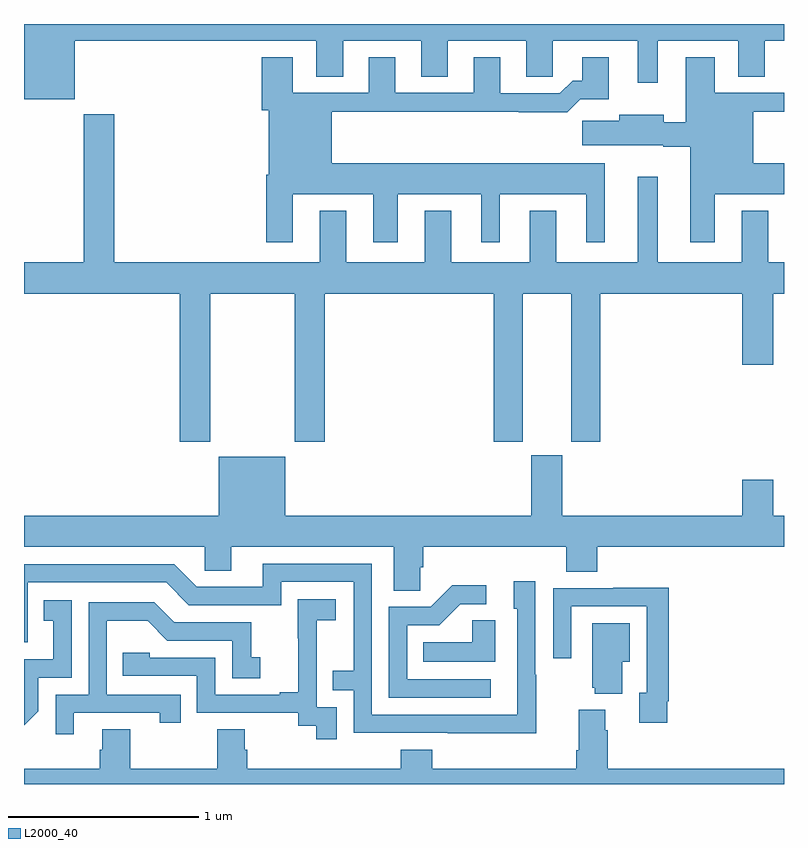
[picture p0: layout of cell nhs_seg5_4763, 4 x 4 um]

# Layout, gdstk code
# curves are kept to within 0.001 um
import gdstk
lib = gdstk.Library(unit=1e-6, precision=1e-09)
def P(c, l, *ps):  # polygons
    for p in ps: c.add(gdstk.Polygon(p, *l))
L2000_40 = (2000, 40)

nhs_seg5_4763 = lib.new_cell('nhs_seg5_4763')
P(nhs_seg5_4763, L2000_40, [(390.539,904.522),(390.679,904.522),(390.679,904.712),(391.091,904.712),(391.091,904.522),(391.231,904.522),(391.231,904.712),(391.643,904.712),(391.643,904.522),(391.782,904.522),(391.782,904.712),(392.231,904.712),(392.231,904.491),(392.335,904.491),(392.335,904.712),(392.759,904.712),(392.759,904.522),(392.899,904.522),(392.899,904.712),(393,904.712),(393,904.799),(389,904.799),(389,904.403),(389.266,904.403),(389.266,904.712),(390.539,904.712)],
  [(390.415,903.902),(390.839,903.902),(390.839,903.651),(390.967,903.651),(390.967,903.902),(391.406,903.902),(391.406,903.651),(391.504,903.651),(391.504,903.902),(391.958,903.902),(391.958,903.651),(392.056,903.651),(392.056,904.066),(390.619,904.066),(390.619,904.336),(391.603,904.336),(391.603,904.334),(391.859,904.334),(391.928,904.403),(392.077,904.403),(392.077,904.624),(391.937,904.624),(391.937,904.501),(391.888,904.501),(391.821,904.434),(391.507,904.434),(391.507,904.624),(391.367,904.624),(391.367,904.437),(390.955,904.437),(390.955,904.624),(390.815,904.624),(390.815,904.437),(390.415,904.437),(390.415,904.624),(390.251,904.624),(390.251,904.344),(390.287,904.344),(390.287,904.006),(390.275,904.006),(390.275,903.651),(390.415,903.651)],
  [(392.635,903.902),(393,903.902),(393,904.066),(392.839,904.066),(392.839,904.336),(393,904.336),(393,904.437),(392.635,904.437),(392.635,904.624),(392.483,904.624),(392.483,904.282),(392.368,904.282),(392.368,904.321),(392.132,904.321),(392.132,904.289),(391.938,904.289),(391.938,904.16),(392.364,904.16),(392.364,904.153),(392.507,904.153),(392.507,903.651),(392.635,903.651)],
  [(389.979,903.38),(390.424,903.38),(390.424,902.601),(390.584,902.601),(390.584,903.38),(391.472,903.38),(391.472,902.601),(391.624,902.601),(391.624,903.38),(391.88,903.38),(391.88,902.601),(392.033,902.601),(392.033,903.38),(392.78,903.38),(392.78,903.006),(392.944,903.006),(392.944,903.38),(393,903.38),(393,903.544),(392.917,903.544),(392.917,903.817),(392.777,903.817),(392.777,903.544),(392.335,903.544),(392.335,903.994),(392.231,903.994),(392.231,903.544),(391.801,903.544),(391.801,903.817),(391.661,903.817),(391.661,903.544),(391.249,903.544),(391.249,903.817),(391.109,903.817),(391.109,903.544),(390.697,903.544),(390.697,903.817),(390.557,903.817),(390.557,903.544),(389.474,903.544),(389.474,904.324),(389.314,904.324),(389.314,903.544),(389,903.544),(389,903.38),(389.819,903.38),(389.819,902.601),(389.979,902.601)],
  [(391.086,901.939),(391.1,901.939),(391.1,902.048),(391.853,902.048),(391.853,901.915),(392.018,901.915),(392.018,902.048),(393,902.048),(393,902.212),(392.944,902.212),(392.944,902.401),(392.78,902.401),(392.78,902.212),(391.834,902.212),(391.834,902.529),(391.67,902.529),(391.67,902.212),(390.376,902.212),(390.376,902.521),(390.026,902.521),(390.026,902.212),(389,902.212),(389,902.048),(389.952,902.048),(389.952,901.921),(390.091,901.921),(390.091,902.048),(390.947,902.048),(390.947,901.816),(391.086,901.816)],
  [(391.695,901.373),(391.692,901.373),(391.692,901.867),(391.577,901.867),(391.577,901.722),(391.596,901.722),(391.596,901.164),(390.831,901.164),(390.831,901.959),(390.257,901.959),(390.257,901.836),(389.91,901.836),(389.79,901.956),(389,901.956),(389,901.545),(389.019,901.545),(389.019,901.86),(389.748,901.86),(389.868,901.74),(390.354,901.74),(390.354,901.863),(390.735,901.863),(390.735,901.394),(390.625,901.394),(390.625,901.293),(390.735,901.293),(390.735,901.068),(391.695,901.067)],
  [(391.456,901.35),(391.017,901.35),(391.017,901.635),(391.186,901.635),(391.297,901.746),(391.432,901.746),(391.432,901.844),(391.253,901.844),(391.14,901.731),(390.921,901.731),(390.921,901.254),(391.456,901.254)],
  [(392.386,901.234),(392.393,901.234),(392.393,901.832),(392.101,901.832),(392.101,901.83),(391.785,901.83),(391.785,901.461),(391.881,901.461),(391.881,901.734),(392.277,901.734),(392.277,901.278),(392.237,901.278),(392.237,901.122),(392.386,901.122)],
  [(390.645,901.203),(390.54,901.203),(390.54,901.433),(390.542,901.433),(390.542,901.661),(390.64,901.661),(390.64,901.771),(390.442,901.771),(390.442,901.565),(390.443,901.565),(390.443,901.282),(390.347,901.282),(390.347,901.269),(390.006,901.269),(390.006,901.464),(389.661,901.464),(389.661,901.491),(389.521,901.491),(389.521,901.368),(389.91,901.368),(389.91,901.173),(390.444,901.173),(390.444,901.105),(390.537,901.105),(390.537,901.035),(390.645,901.035)],
  [(389.076,901.182),(389.076,901.359),(389.25,901.359),(389.25,901.765),(389.104,901.765),(389.104,901.659),(389.153,901.659),(389.153,901.455),(389,901.455),(389,901.107)],
  [(389.263,901.173),(389.714,901.173),(389.714,901.122),(389.825,901.122),(389.825,901.269),(389.436,901.269),(389.436,901.658),(389.65,901.658),(389.754,901.554),(390.096,901.554),(390.096,901.356),(390.244,901.356),(390.244,901.465),(390.195,901.465),(390.195,901.65),(389.791,901.65),(389.686,901.755),(389.34,901.755),(389.34,901.269),(389.166,901.269),(389.166,901.062),(389.263,901.062)],
  [(391.48,901.661),(391.359,901.661),(391.359,901.546),(391.102,901.546),(391.102,901.442),(391.48,901.442)],
  [(392.149,901.442),(392.188,901.442),(392.188,901.645),(391.991,901.645),(391.991,901.305),(392.003,901.305),(392.003,901.274),(392.149,901.274)],
  [(393,900.88),(392.072,900.88),(392.072,901.082),(392.059,901.082),(392.059,901.189),(391.919,901.189),(391.919,900.976),(391.907,900.976),(391.907,900.88),(391.148,900.88),(391.148,900.979),(390.983,900.979),(390.983,900.88),(390.176,900.88),(390.176,900.978),(390.163,900.978),(390.163,901.088),(390.016,901.088),(390.016,900.88),(389.559,900.88),(389.559,901.088),(389.411,901.088),(389.411,900.978),(389.399,900.978),(389.399,900.88),(389,900.88),(389,900.799),(393,900.799)])

lib.write_gds('nhs_seg5_4763.gds')
